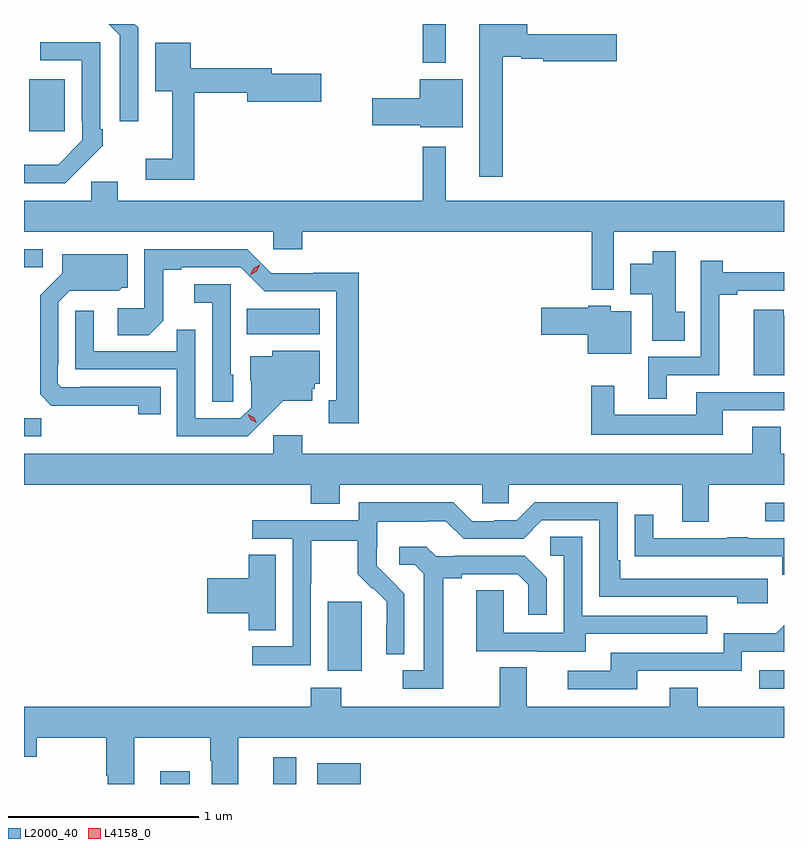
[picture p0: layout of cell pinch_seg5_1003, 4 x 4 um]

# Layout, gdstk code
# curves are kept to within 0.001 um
import gdstk
lib = gdstk.Library(unit=1e-6, precision=1e-09)
def R(c, l, rs):  # rectangles x0, y0, x1, y1
    for r in rs: c.add(gdstk.rectangle(r[:2], r[2:], *l))
def P(c, l, *ps):  # polygons
    for p in ps: c.add(gdstk.Polygon(p, *l))
L2000_40 = (2000, 40)
L4158_0 = (4158, 0)

pinch_seg5_1003 = lib.new_cell('pinch_seg5_1003')
R(pinch_seg5_1003, L2000_40, [(707.009,843.197,707.164,843.265), (707.603,843.197,707.725,843.337), (707.835,843.197,708.065,843.307), (710.163,843.699,710.292,843.795), (707.891,843.794,708.07,844.155), (710.193,844.581,710.292,844.677), (706.292,845.028,706.383,845.123), (707.464,845.564,707.848,845.698), (706.292,845.916,706.39,846.012), (706.319,846.633,706.507,846.907), (708.39,846.992,708.511,847.197)])
P(pinch_seg5_1003, L2000_40, [(708.811,847.025),(708.908,847.025),(708.908,847.013),(709.026,847.013),(709.026,847.001),(709.411,847.001),(709.411,847.143),(708.94,847.143),(708.94,847.197),(708.689,847.197),(708.689,846.393),(708.811,846.393)],
  [(706.893,847.179),(706.875,847.197),(706.737,847.197),(706.797,847.137),(706.797,846.684),(706.893,846.684)],
  [(706.601,846.451),(706.602,846.45),(706.707,846.555),(706.707,846.643),(706.692,846.643),(706.692,847.101),(706.377,847.101),(706.377,847.005),(706.596,847.005),(706.596,846.685),(706.599,846.685),(706.599,846.585),(706.471,846.457),(706.292,846.456),(706.292,846.36),(706.51,846.36)],
  [(707.189,846.835),(707.468,846.835),(707.468,846.788),(707.857,846.788),(707.857,846.935),(707.596,846.935),(707.596,846.964),(707.17,846.964),(707.17,847.099),(706.982,847.099),(706.982,846.842),(707.072,846.842),(707.072,846.487),(706.932,846.487),(706.932,846.378),(707.189,846.378)],
  [(708.601,846.907),(708.374,846.907),(708.374,846.806),(708.126,846.806),(708.126,846.664),(708.378,846.664),(708.378,846.653),(708.601,846.653)],
  [(709.395,846.104),(710.292,846.104),(710.292,846.268),(708.511,846.268),(708.511,846.55),(708.39,846.55),(708.39,846.268),(706.786,846.268),(706.786,846.366),(706.647,846.366),(706.647,846.268),(706.292,846.268),(706.292,846.104),(707.604,846.104),(707.604,846.011),(707.756,846.011),(707.756,846.104),(709.279,846.104),(709.279,845.798),(709.395,845.798)],
  [(708.055,845.888),(707.814,845.888),(707.814,845.886),(707.592,845.886),(707.466,846.012),(706.926,846.012),(706.926,845.7),(706.785,845.7),(706.785,845.56),(706.949,845.56),(707.025,845.636),(707.025,845.904),(707.119,845.904),(707.119,845.916),(707.433,845.916),(707.559,845.79),(707.936,845.79),(707.936,845.217),(707.897,845.217),(707.897,845.097),(708.055,845.097)],
  [(709.769,845.682),(709.723,845.682),(709.723,846.001),(709.601,846.001),(709.601,845.935),(709.484,845.935),(709.484,845.774),(709.598,845.774),(709.598,845.53),(709.769,845.53)],
  [(707.012,845.289),(706.588,845.289),(706.588,845.286),(706.488,845.286),(706.47,845.304),(706.47,845.404),(706.473,845.404),(706.473,845.733),(706.533,845.793),(706.79,845.792),(706.806,845.808),(706.837,845.808),(706.837,845.986),(706.493,845.986),(706.493,845.886),(706.377,845.77),(706.377,845.248),(706.436,845.189),(706.894,845.188),(706.894,845.142),(707.012,845.142)],
  [(709.675,845.349),(709.952,845.349),(709.952,845.773),(710.047,845.773),(710.047,845.793),(710.292,845.793),(710.292,845.891),(709.97,845.891),(709.97,845.95),(709.854,845.95),(709.854,845.445),(709.577,845.445),(709.577,845.225),(709.675,845.225)],
  [(707.394,845.352),(707.379,845.352),(707.379,845.826),(707.187,845.826),(707.187,845.729),(707.283,845.729),(707.283,845.209),(707.394,845.209)],
  [(709.489,845.686),(709.38,845.686),(709.38,845.713),(709.263,845.713),(709.263,845.703),(709.014,845.703),(709.014,845.561),(709.259,845.561),(709.259,845.462),(709.489,845.462)],
  [(710.292,845.662),(710.29,845.662),(710.29,845.692),(710.132,845.692),(710.132,845.348),(710.292,845.348)],
  [(707.554,845.111),(707.657,845.213),(707.809,845.213),(707.809,845.277),(707.823,845.277),(707.823,845.304),(707.848,845.304),(707.848,845.476),(707.598,845.476),(707.598,845.449),(707.483,845.449),(707.483,845.32),(707.487,845.32),(707.487,845.178),(707.43,845.121),(707.193,845.121),(707.193,845.588),(707.095,845.588),(707.095,845.475),(706.659,845.475),(706.659,845.689),(706.563,845.689),(706.563,845.379),(707.097,845.379),(707.097,845.028),(707.47,845.028)],
  [(709.969,845.163),(710.292,845.163),(710.292,845.259),(709.829,845.259),(709.829,845.14),(709.399,845.14),(709.399,845.293),(709.278,845.293),(709.278,845.036),(709.969,845.036)],
  [(709.897,844.772),(710.292,844.772),(710.292,844.936),(710.274,844.936),(710.274,845.078),(710.126,845.078),(710.126,844.936),(707.756,844.936),(707.756,845.032),(707.604,845.032),(707.604,844.936),(706.292,844.936),(706.292,844.772),(707.801,844.772),(707.801,844.673),(707.953,844.673),(707.953,844.772),(708.705,844.772),(708.705,844.674),(708.843,844.674),(708.843,844.772),(709.757,844.772),(709.757,844.578),(709.897,844.578)],
  [(707.802,844.252),(707.805,844.252),(707.805,844.476),(708.049,844.476),(708.049,844.301),(708.126,844.224),(708.129,844.227),(708.2,844.157),(708.2,844.034),(708.198,844.034),(708.198,843.88),(708.294,843.88),(708.294,844.198),(708.148,844.346),(708.148,844.443),(708.15,844.443),(708.15,844.577),(708.413,844.577),(708.413,844.581),(708.513,844.581),(708.606,844.488),(708.921,844.488),(709.017,844.584),(709.32,844.584),(709.32,844.182),(710.045,844.182),(710.045,844.148),(710.206,844.148),(710.206,844.278),(709.429,844.278),(709.429,844.375),(709.416,844.375),(709.416,844.68),(708.981,844.68),(708.885,844.584),(708.767,844.584),(708.767,844.581),(708.651,844.581),(708.551,844.681),(708.054,844.681),(708.054,844.584),(707.493,844.584),(707.493,844.488),(707.706,844.488),(707.706,843.921),(707.493,843.921),(707.493,843.823),(707.802,843.823)],
  [(710.292,844.491),(710.105,844.491),(710.105,844.496),(709.993,844.496),(709.993,844.491),(709.603,844.491),(709.603,844.615),(709.507,844.615),(709.507,844.396),(709.609,844.396),(709.609,844.395),(710.284,844.395),(710.284,844.298),(710.292,844.298)],
  [(709.249,843.987),(709.889,843.987),(709.889,844.083),(709.23,844.083),(709.23,844.499),(709.062,844.499),(709.062,844.398),(709.134,844.398),(709.134,843.993),(708.816,843.993),(708.816,844.217),(708.671,844.217),(708.671,843.897),(708.995,843.897),(708.995,843.893),(709.249,843.893)],
  [(708.499,844.28),(708.595,844.28),(708.595,844.302),(708.89,844.302),(708.947,844.245),(708.947,844.089),(709.044,844.089),(709.044,844.282),(708.928,844.398),(708.556,844.398),(708.556,844.395),(708.462,844.395),(708.41,844.447),(708.267,844.447),(708.267,844.35),(708.348,844.35),(708.395,844.303),(708.395,843.795),(708.285,843.795),(708.285,843.699),(708.499,843.699)],
  [(707.617,844.403),(707.474,844.403),(707.474,844.28),(707.256,844.28),(707.256,844.097),(707.474,844.097),(707.474,844.006),(707.617,844.006)],
  [(709.519,843.792),(710.07,843.792),(710.07,843.894),(710.292,843.894),(710.292,844.032),(710.251,843.991),(709.974,843.991),(709.974,843.888),(709.379,843.888),(709.379,843.792),(709.155,843.792),(709.155,843.696),(709.519,843.696)],
  [(706.873,843.44),(707.272,843.44),(707.272,843.32),(707.279,843.32),(707.279,843.197),(707.419,843.197),(707.419,843.44),(710.292,843.44),(710.292,843.604),(709.839,843.604),(709.839,843.703),(709.691,843.703),(709.691,843.604),(708.937,843.604),(708.937,843.812),(708.797,843.812),(708.797,843.604),(707.961,843.604),(707.961,843.703),(707.801,843.703),(707.801,843.604),(706.292,843.604),(706.292,843.341),(706.359,843.341),(706.359,843.44),(706.726,843.44),(706.726,843.241),(706.733,843.241),(706.733,843.197),(706.873,843.197)])
P(pinch_seg5_1003, L4158_0, [(707.484,845.878),(707.484,845.878),(707.502,845.911),(707.533,845.93),(707.534,845.93),(707.534,845.929),(707.516,845.897),(707.485,845.878)],
  [(707.516,845.098),(707.486,845.114),(707.469,845.143),(707.469,845.143),(707.469,845.143),(707.5,845.128),(707.517,845.098),(707.517,845.098)])

lib.write_gds('pinch_seg5_1003.gds')
